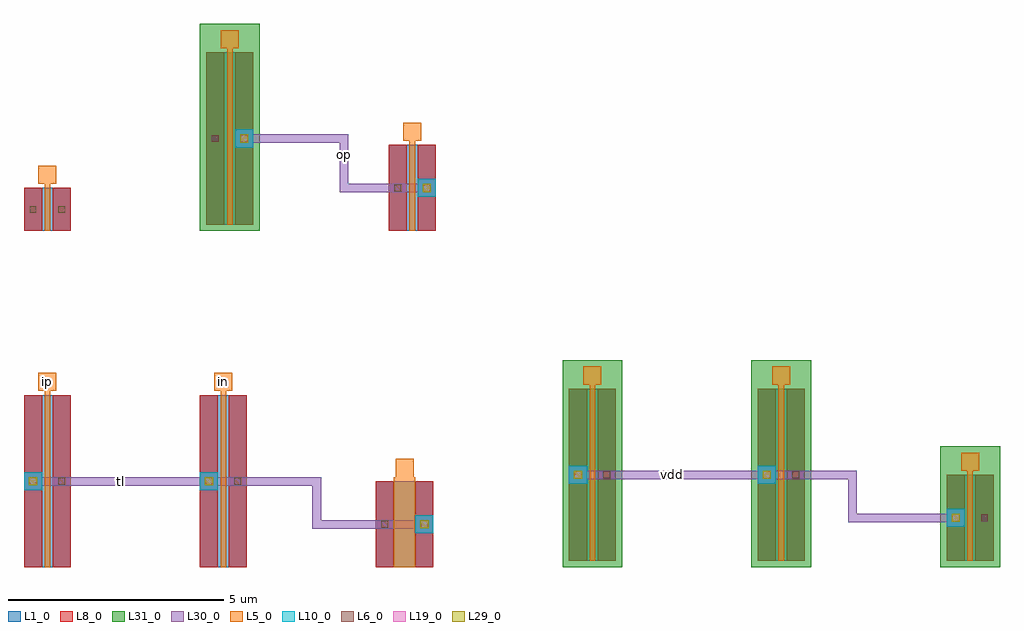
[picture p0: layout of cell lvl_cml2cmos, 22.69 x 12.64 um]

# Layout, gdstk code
import gdstk
lib = gdstk.Library(unit=1e-6, precision=1e-09)
def R(c, l, rs):  # rectangles x0, y0, x1, y1
    for r in rs: c.add(gdstk.rectangle(r[:2], r[2:], *l))
L1_0 = (1, 0)
L5_0 = (5, 0)
L6_0 = (6, 0)
L8_0 = (8, 0)
L10_0 = (10, 0)
L19_0 = (19, 0)
L29_0 = (29, 0)
L30_0 = (30, 0)
L31_0 = (31, 0)

lvl_cml2cmos_xmn1__core = lib.new_cell('lvl_cml2cmos_XMn1__core')
R(lvl_cml2cmos_xmn1__core, L1_0, [(0,0,1.09,4)])
R(lvl_cml2cmos_xmn1__core, L5_0, [(0.48,0,0.61,4), (0.48,4,0.61,4.1), (0.335,4.1,0.755,4.52)])
R(lvl_cml2cmos_xmn1__core, L6_0, [(0.13,1.92,0.29,2.08), (0.8,1.92,0.96,2.08)])
R(lvl_cml2cmos_xmn1__core, L8_0, [(0,0,0.42,4), (0.67,0,1.09,4)])

xmn1__lvl_cml2cmos_xmn1 = lib.new_cell('XMn1__lvl_cml2cmos_XMn1')
xmn1__lvl_cml2cmos_xmn1.add(gdstk.Reference(lvl_cml2cmos_xmn1__core, (0,0)))

lvl_cml2cmos_xmn2__core = lib.new_cell('lvl_cml2cmos_XMn2__core')
R(lvl_cml2cmos_xmn2__core, L1_0, [(0,0,1.09,4)])
R(lvl_cml2cmos_xmn2__core, L5_0, [(0.48,0,0.61,4), (0.48,4,0.61,4.1), (0.335,4.1,0.755,4.52)])
R(lvl_cml2cmos_xmn2__core, L6_0, [(0.13,1.92,0.29,2.08), (0.8,1.92,0.96,2.08)])
R(lvl_cml2cmos_xmn2__core, L8_0, [(0,0,0.42,4), (0.67,0,1.09,4)])

xmn2__lvl_cml2cmos_xmn2 = lib.new_cell('XMn2__lvl_cml2cmos_XMn2')
xmn2__lvl_cml2cmos_xmn2.add(gdstk.Reference(lvl_cml2cmos_xmn2__core, (0,0)))

lvl_cml2cmos_xmnt__core = lib.new_cell('lvl_cml2cmos_XMnt__core')
R(lvl_cml2cmos_xmnt__core, L1_0, [(0,0,1.34,2)])
R(lvl_cml2cmos_xmnt__core, L5_0, [(0.42,0,0.92,2), (0.42,2,0.92,2.1), (0.46,2.1,0.88,2.52)])
R(lvl_cml2cmos_xmnt__core, L6_0, [(0.13,0.92,0.29,1.08), (1.05,0.92,1.21,1.08)])
R(lvl_cml2cmos_xmnt__core, L8_0, [(0,0,0.42,2), (0.92,0,1.34,2)])

xmnt__lvl_cml2cmos_xmnt = lib.new_cell('XMnt__lvl_cml2cmos_XMnt')
xmnt__lvl_cml2cmos_xmnt.add(gdstk.Reference(lvl_cml2cmos_xmnt__core, (0,0)))

lvl_cml2cmos_xmp1__core = lib.new_cell('lvl_cml2cmos_XMp1__core')
R(lvl_cml2cmos_xmp1__core, L1_0, [(0,0,1.09,4)])
R(lvl_cml2cmos_xmp1__core, L5_0, [(0.48,0,0.61,4), (0.48,4,0.61,4.1), (0.335,4.1,0.755,4.52)])
R(lvl_cml2cmos_xmp1__core, L6_0, [(0.13,1.92,0.29,2.08), (0.8,1.92,0.96,2.08)])
R(lvl_cml2cmos_xmp1__core, L8_0, [(0,0,0.42,4), (0.67,0,1.09,4)])
R(lvl_cml2cmos_xmp1__core, L31_0, [(-0.15,-0.15,1.24,4.67)])

xmp1__lvl_cml2cmos_xmp1 = lib.new_cell('XMp1__lvl_cml2cmos_XMp1')
xmp1__lvl_cml2cmos_xmp1.add(gdstk.Reference(lvl_cml2cmos_xmp1__core, (0,0)))

lvl_cml2cmos_xmp2__core = lib.new_cell('lvl_cml2cmos_XMp2__core')
R(lvl_cml2cmos_xmp2__core, L1_0, [(0,0,1.09,4)])
R(lvl_cml2cmos_xmp2__core, L5_0, [(0.48,0,0.61,4), (0.48,4,0.61,4.1), (0.335,4.1,0.755,4.52)])
R(lvl_cml2cmos_xmp2__core, L6_0, [(0.13,1.92,0.29,2.08), (0.8,1.92,0.96,2.08)])
R(lvl_cml2cmos_xmp2__core, L8_0, [(0,0,0.42,4), (0.67,0,1.09,4)])
R(lvl_cml2cmos_xmp2__core, L31_0, [(-0.15,-0.15,1.24,4.67)])

xmp2__lvl_cml2cmos_xmp2 = lib.new_cell('XMp2__lvl_cml2cmos_XMp2')
xmp2__lvl_cml2cmos_xmp2.add(gdstk.Reference(lvl_cml2cmos_xmp2__core, (0,0)))

lvl_cml2cmos_xmpi1__core = lib.new_cell('lvl_cml2cmos_XMpi1__core')
R(lvl_cml2cmos_xmpi1__core, L1_0, [(0,0,1.09,2)])
R(lvl_cml2cmos_xmpi1__core, L5_0, [(0.48,0,0.61,2), (0.48,2,0.61,2.1), (0.335,2.1,0.755,2.52)])
R(lvl_cml2cmos_xmpi1__core, L6_0, [(0.13,0.92,0.29,1.08), (0.8,0.92,0.96,1.08)])
R(lvl_cml2cmos_xmpi1__core, L8_0, [(0,0,0.42,2), (0.67,0,1.09,2)])
R(lvl_cml2cmos_xmpi1__core, L31_0, [(-0.15,-0.15,1.24,2.67)])

xmpi1__lvl_cml2cmos_xmpi = lib.new_cell('XMpi1__lvl_cml2cmos_XMpi1')
xmpi1__lvl_cml2cmos_xmpi.add(gdstk.Reference(lvl_cml2cmos_xmpi1__core, (0,0)))

lvl_cml2cmos_xmni1__core = lib.new_cell('lvl_cml2cmos_XMni1__core')
R(lvl_cml2cmos_xmni1__core, L1_0, [(0,0,1.09,1)])
R(lvl_cml2cmos_xmni1__core, L5_0, [(0.48,0,0.61,1), (0.48,1,0.61,1.1), (0.335,1.1,0.755,1.52)])
R(lvl_cml2cmos_xmni1__core, L6_0, [(0.13,0.42,0.29,0.58), (0.8,0.42,0.96,0.58)])
R(lvl_cml2cmos_xmni1__core, L8_0, [(0,0,0.42,1), (0.67,0,1.09,1)])

xmni1__lvl_cml2cmos_xmni = lib.new_cell('XMni1__lvl_cml2cmos_XMni1')
xmni1__lvl_cml2cmos_xmni.add(gdstk.Reference(lvl_cml2cmos_xmni1__core, (0,0)))

lvl_cml2cmos_xmpi2__core = lib.new_cell('lvl_cml2cmos_XMpi2__core')
R(lvl_cml2cmos_xmpi2__core, L1_0, [(0,0,1.09,4)])
R(lvl_cml2cmos_xmpi2__core, L5_0, [(0.48,0,0.61,4), (0.48,4,0.61,4.1), (0.335,4.1,0.755,4.52)])
R(lvl_cml2cmos_xmpi2__core, L6_0, [(0.13,1.92,0.29,2.08), (0.8,1.92,0.96,2.08)])
R(lvl_cml2cmos_xmpi2__core, L8_0, [(0,0,0.42,4), (0.67,0,1.09,4)])
R(lvl_cml2cmos_xmpi2__core, L31_0, [(-0.15,-0.15,1.24,4.67)])

xmpi2__lvl_cml2cmos_xmpi = lib.new_cell('XMpi2__lvl_cml2cmos_XMpi2')
xmpi2__lvl_cml2cmos_xmpi.add(gdstk.Reference(lvl_cml2cmos_xmpi2__core, (0,0)))

lvl_cml2cmos_xmni2__core = lib.new_cell('lvl_cml2cmos_XMni2__core')
R(lvl_cml2cmos_xmni2__core, L1_0, [(0,0,1.09,2)])
R(lvl_cml2cmos_xmni2__core, L5_0, [(0.48,0,0.61,2), (0.48,2,0.61,2.1), (0.335,2.1,0.755,2.52)])
R(lvl_cml2cmos_xmni2__core, L6_0, [(0.13,0.92,0.29,1.08), (0.8,0.92,0.96,1.08)])
R(lvl_cml2cmos_xmni2__core, L8_0, [(0,0,0.42,2), (0.67,0,1.09,2)])

xmni2__lvl_cml2cmos_xmni = lib.new_cell('XMni2__lvl_cml2cmos_XMni2')
xmni2__lvl_cml2cmos_xmni.add(gdstk.Reference(lvl_cml2cmos_xmni2__core, (0,0)))

lvl_cml2cmos = lib.new_cell('lvl_cml2cmos')
R(lvl_cml2cmos, L8_0, [(9.1,0.79,9.52,1.21), (21.45,0.94,21.87,1.36), (0,1.79,0.42,2.21), (4.09,1.79,4.51,2.21), (4.09,1.79,4.51,2.21), (12.67,1.94,13.09,2.36), (17.06,1.94,17.48,2.36), (17.06,1.94,17.48,2.36), (9.15,8.61,9.57,9.03), (4.91,9.76,5.33,10.18)])
R(lvl_cml2cmos, L10_0, [(9.1,0.79,9.52,1.21), (9.1,0.79,9.52,1.21), (21.45,0.94,21.87,1.36), (21.45,0.94,21.87,1.36), (0,1.79,0.42,2.21), (0,1.79,0.42,2.21), (4.09,1.79,4.51,2.21), (4.09,1.79,4.51,2.21), (4.09,1.79,4.51,2.21), (4.09,1.79,4.51,2.21), (12.67,1.94,13.09,2.36), (12.67,1.94,13.09,2.36), (17.06,1.94,17.48,2.36), (17.06,1.94,17.48,2.36), (17.06,1.94,17.48,2.36), (17.06,1.94,17.48,2.36), (9.15,8.61,9.57,9.03), (9.15,8.61,9.57,9.03), (4.91,9.76,5.33,10.18), (4.91,9.76,5.33,10.18)])
R(lvl_cml2cmos, L19_0, [(9.215,0.905,9.405,1.095), (21.565,1.055,21.755,1.245), (0.115,1.905,0.305,2.095), (4.205,1.905,4.395,2.095), (4.205,1.905,4.395,2.095), (12.785,2.055,12.975,2.245), (17.175,2.055,17.365,2.245), (17.175,2.055,17.365,2.245), (9.265,8.725,9.455,8.915), (5.025,9.875,5.215,10.065)])
R(lvl_cml2cmos, L29_0, [(9.215,0.905,9.405,1.095), (21.565,1.055,21.755,1.245), (0.115,1.905,0.305,2.095), (4.205,1.905,4.395,2.095), (4.205,1.905,4.395,2.095), (12.785,2.055,12.975,2.245), (17.175,2.055,17.365,2.245), (17.175,2.055,17.365,2.245), (9.265,8.725,9.455,8.915), (5.025,9.875,5.215,10.065)])
R(lvl_cml2cmos, L30_0, [(9.1,0.79,9.52,1.21), (21.45,0.94,21.87,1.36), (0,1.79,0.42,2.21), (4.09,1.79,4.51,2.21), (4.09,1.79,4.51,2.21), (12.67,1.94,13.09,2.36), (17.06,1.94,17.48,2.36), (17.06,1.94,17.48,2.36), (9.15,8.61,9.57,9.03), (4.91,9.76,5.33,10.18)])
lvl_cml2cmos.add(gdstk.FlexPath([(5.12,9.97),(7.44,9.97),(7.44,8.82),(9.36,8.82)], 0.2, ends="flush", simple_path=True, layer=30, datatype=0))  # L30_0
lvl_cml2cmos.add(gdstk.FlexPath([(0.21,2),(4.3,2)], 0.2, ends="flush", simple_path=True, layer=30, datatype=0))  # L30_0
lvl_cml2cmos.add(gdstk.FlexPath([(4.3,2),(6.805,2),(6.805,1),(9.31,1)], 0.2, ends="flush", simple_path=True, layer=30, datatype=0))  # L30_0
lvl_cml2cmos.add(gdstk.FlexPath([(12.88,2.15),(17.27,2.15)], 0.2, ends="flush", simple_path=True, layer=30, datatype=0))  # L30_0
lvl_cml2cmos.add(gdstk.FlexPath([(17.27,2.15),(19.265,2.15),(19.265,1.15),(21.66,1.15)], 0.2, ends="flush", simple_path=True, layer=30, datatype=0))  # L30_0
lvl_cml2cmos.add(gdstk.Reference(xmn1__lvl_cml2cmos_xmn1, (0,0)))
lvl_cml2cmos.add(gdstk.Reference(xmn2__lvl_cml2cmos_xmn2, (4.09,0)))
lvl_cml2cmos.add(gdstk.Reference(xmnt__lvl_cml2cmos_xmnt, (8.18,0)))
lvl_cml2cmos.add(gdstk.Reference(xmp1__lvl_cml2cmos_xmp1, (12.67,0.15)))
lvl_cml2cmos.add(gdstk.Reference(xmp2__lvl_cml2cmos_xmp2, (17.06,0.15)))
lvl_cml2cmos.add(gdstk.Reference(xmpi1__lvl_cml2cmos_xmpi, (21.45,0.15)))
lvl_cml2cmos.add(gdstk.Reference(xmni1__lvl_cml2cmos_xmni, (0,7.82)))
lvl_cml2cmos.add(gdstk.Reference(xmpi2__lvl_cml2cmos_xmpi, (4.24,7.97)))
lvl_cml2cmos.add(gdstk.Reference(xmni2__lvl_cml2cmos_xmni, (8.48,7.82)))
lvl_cml2cmos.add(gdstk.Label('op', (7.44,9.595), layer=30, texttype=25))
lvl_cml2cmos.add(gdstk.Label('tl', (2.255,2), layer=30, texttype=25))
lvl_cml2cmos.add(gdstk.Label('vdd', (15.075,2.15), layer=30, texttype=25))
lvl_cml2cmos.add(gdstk.Label('ip', (0.545,4.31), layer=5, texttype=1))
lvl_cml2cmos.add(gdstk.Label('in', (4.635,4.31), layer=5, texttype=1))

lib.write_gds('lvl_cml2cmos.gds')
